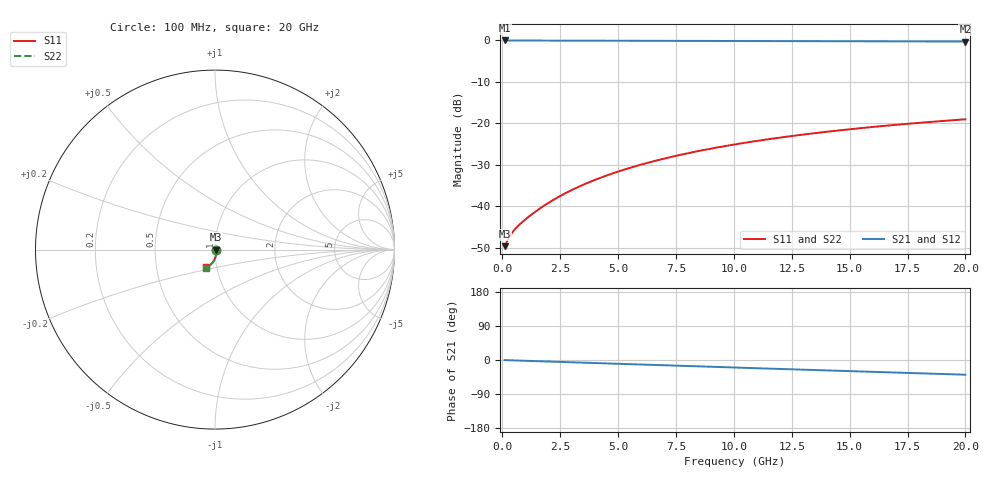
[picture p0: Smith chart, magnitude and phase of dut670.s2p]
! Touchstone file exported from HFSS 2026.1.0
!  File:  C:/ffzhzh/LocalFiles/Ansys_Project_Files/temp_train_TMRDL_670_1783009895_53980.aedt
!  Generated:  12:32:53 AM Jul  3, 2026
!  Design:  TMRDL
!  Project:  temp_train_TMRDL_670_1783009895_53980
! Variables:
!  h_bsmrdl = 2um
!  h_ox = 20um
!  h_rdl = 5um
!  h_sub = 80um
!  h_tmrdl = 3.77um
!  h_tsv = 80um
!  h_via = 3um
!  l_bsmrdl = 300um
!  l_sub = 1084.71um
!  l_tmrdl = 684.71um
!  m_sub = 200um
!  pitch = 24.23um
!  r_tsv = 6um
!  s_tmrdl = 10um
!  w_bsmrdl = 18um
!  w_sub = 500um
!  w_tmrdl = 21.58um
!  x_tsv_center1 = 695.5um
!  x_tsv_center2 = 1013.5um
!  x_tsv_center3 = 1719.79um
!  x_tsv_center4 = 2037.79um
!  x_tsv_center5 = 2744.08um
!  x_tsv_center6 = 3062.08um
# GHz S MA R 50.000000
! Terminal data exported
! Port[1] = TM_RDL1_1_T1
! Port[2] = TM_RDL1_1_T2
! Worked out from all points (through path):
!   200 points, 100 MHz to 20 GHz, reference 50 ohm
!   highest |S21| = -0.03 dB at 100 MHz (marker M1); lowest = -0.3 dB at 20 GHz (marker M2)
!   group delay of S21, straight-line fit = 5.37 ps
!   lowest |S11| = -49.7 dB at 100 MHz (marker M3), VSWR 1.01, Z = 50.3 + j0.0275 ohm
!   |S11| at or under -10 dB: start of sweep to end of sweep
!   |S22| runs from -49.6 to -19.0 dB; largest |S21 - S12| = 3.9e-15
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0.1  0.003292 4.8  0.9967 -0.2  0.9967 -0.2  0.003292 4.8
! Gamma 0 0 0 0
! Port Impedance 50 0 50 0
0.3  0.004222 2.1  0.9958 -0.7  0.9958 -0.7  0.004222 2.1
0.4  0.004684 -2.7  0.9953 -0.9  0.9953 -0.9  0.004685 -2.7
0.5  0.005102 -8.0  0.9949 -1.1  0.9949 -1.1  0.005104 -8.0
0.6  0.005487 -13.2  0.9946 -1.3  0.9946 -1.3  0.005489 -13.2
0.8  0.006213 -22.7  0.9942 -1.7  0.9942 -1.7  0.006216 -22.7
1.2  0.007683 -37.1  0.9937 -2.5  0.9937 -2.5  0.00769 -37.1
1.7  0.009695 -49.1  0.9932 -3.5  0.9932 -3.5  0.009706 -49.1
2.3  0.01234 -58.3  0.9926 -4.7  0.9926 -4.7  0.01236 -58.2
2.9  0.01517 -64.5  0.992 -5.9  0.992 -5.9  0.0152 -64.4
3.5  0.01816 -69.0  0.9912 -7.1  0.9912 -7.1  0.01819 -68.8
4.2  0.0218 -73.0  0.9903 -8.5  0.9903 -8.5  0.02184 -72.8
5  0.02613 -76.7  0.9892 -10.1  0.9892 -10.1  0.02618 -76.5
5.9  0.03117 -80.2  0.9879 -11.8  0.9879 -11.8  0.03124 -79.9
6.8  0.03635 -83.3  0.9865 -13.6  0.9865 -13.6  0.03644 -83.0
8.4  0.04578 -88.3  0.9841 -16.7  0.9841 -16.7  0.0459 -87.9
10.1  0.05591 -93.1  0.9816 -20.0  0.9816 -20.0  0.05607 -92.7
11.7  0.06543 -97.3  0.9793 -23.1  0.9793 -23.1  0.06562 -96.9
13.4  0.0754 -101.6  0.9769 -26.3  0.9769 -26.3  0.07563 -101.1
15  0.0846 -105.5  0.9747 -29.4  0.9747 -29.4  0.08487 -104.9
16.7  0.09411 -109.5  0.9723 -32.6  0.9723 -32.6  0.09442 -108.9
20  0.1116 -117.0  0.9676 -38.8  0.9676 -38.8  0.112 -116.2
